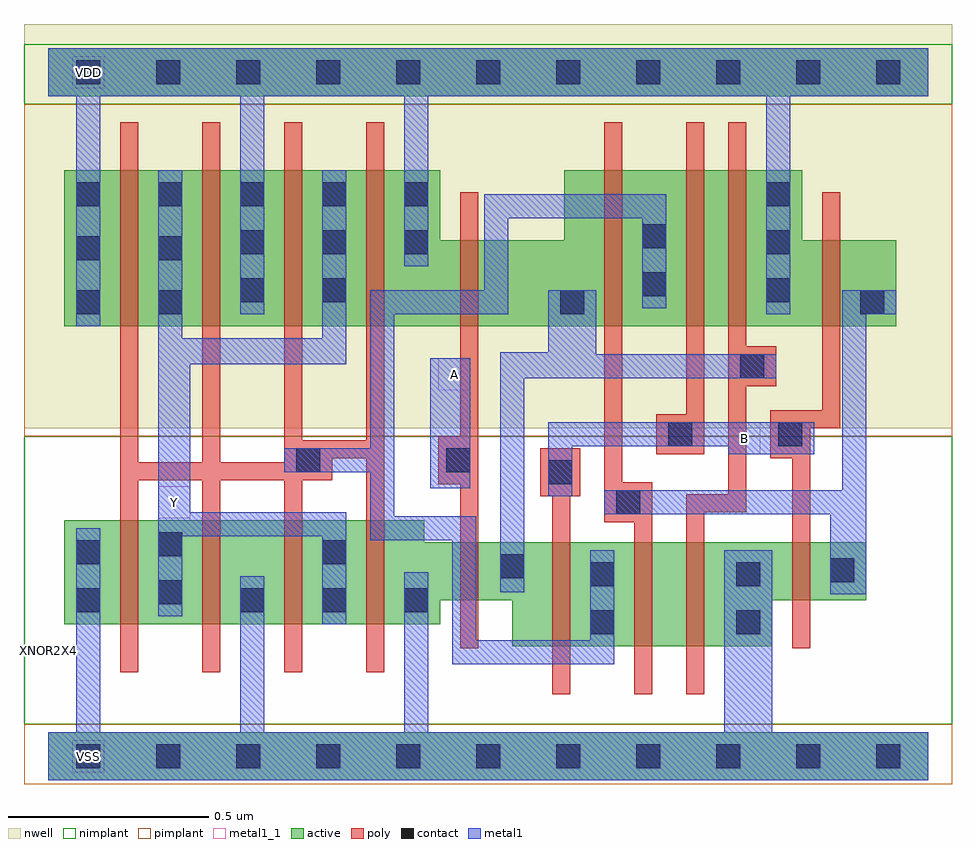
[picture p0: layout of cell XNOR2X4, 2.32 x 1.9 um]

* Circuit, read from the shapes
.subckt XNOR2X4 A B VDD VSS Y
M1 Y n1 VSS VSS nfet w=0.26u l=0.045u m=4
M2 n2 A VSS VSS nfet w=0.145u l=0.045u
M3 n1 B n2 VSS nfet w=0.26u l=0.045u
M4 n3 n4 n1 VSS nfet w=0.26u l=0.045u
M5 VSS n2 n3 VSS nfet w=0.26u l=0.045u
M6 n4 B VSS VSS nfet w=0.145u l=0.045u
M7 Y n1 VDD VDD pfet w=0.39u l=0.045u m=4
M8 n2 A VDD VDD pfet w=0.215u l=0.045u
M9 n1 n4 n2 VDD pfet w=0.39u l=0.045u
M10 n5 B n1 VDD pfet w=0.39u l=0.045u
M11 VDD n2 n5 VDD pfet w=0.39u l=0.045u
M12 n4 B VDD VDD pfet w=0.215u l=0.045u
.ends

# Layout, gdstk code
import gdstk
lib = gdstk.Library(unit=1e-6, precision=5e-10)
def R(c, l, rs):  # rectangles x0, y0, x1, y1
    for r in rs: c.add(gdstk.rectangle(r[:2], r[2:], *l))
def A(c, l, x, y, w, h, nx, ny, dx, dy):  # array of equal rectangles
    R(c, l, [(x+i*dx, y+j*dy, x+i*dx+w, y+j*dy+h) for i in range(nx) for j in range(ny)])
def P(c, l, *ps):  # polygons
    for p in ps: c.add(gdstk.Polygon(p, *l))
active = (1, 0)
nwell = (2, 0)
poly = (3, 0)
nimplant = (4, 0)
pimplant = (5, 0)
contact = (6, 0)
metal1 = (7, 0)
metal1_1 = (7, 1)

xnor2x4 = lib.new_cell('XNOR2X4')
R(xnor2x4, active, [(0,-0.06,2.2,0.06), (0,1.65,2.2,1.77)])
P(xnor2x4, active, [(0.04,1.465),(0.98,1.465),(0.98,1.29),(1.29,1.29),(1.29,1.465),(1.885,1.465),(1.885,1.29),(2.12,1.29),(2.12,1.075),(0.04,1.075)],
  [(0.04,0.59),(0.94,0.59),(0.94,0.535),(2.045,0.535),(2.045,0.39),(1.81,0.39),(1.81,0.275),(1.16,0.275),(1.16,0.39),(0.98,0.39),(0.98,0.33),(0.04,0.33)])
R(xnor2x4, nwell, [(-0.06,0.82,2.26,1.83)])
P(xnor2x4, poly, [(1.98,1.41),(1.935,1.41),(1.935,0.865),(1.805,0.865),(1.805,0.745),(1.86,0.745),(1.86,0.27),(1.905,0.27),(1.905,0.82),(1.98,0.82)],
  [(1.82,1.025),(1.745,1.025),(1.745,1.585),(1.7,1.585),(1.7,0.655),(1.595,0.655),(1.595,0.155),(1.64,0.155),(1.64,0.61),(1.745,0.61),(1.745,0.925),(1.82,0.925)],
  [(1.64,1.585),(1.595,1.585),(1.595,0.855),(1.52,0.855),(1.52,0.755),(1.64,0.755)],
  [(1.51,0.685),(1.435,0.685),(1.435,1.585),(1.39,1.585),(1.39,0.585),(1.465,0.585),(1.465,0.155),(1.51,0.155)],
  [(1.33,0.77),(1.23,0.77),(1.23,0.65),(1.26,0.65),(1.26,0.155),(1.305,0.155),(1.305,0.65),(1.33,0.65)],
  [(1.075,1.41),(1.03,1.41),(1.03,0.8),(0.975,0.8),(0.975,0.68),(1.03,0.68),(1.03,0.27),(1.075,0.27)],
  [(0.84,1.585),(0.795,1.585),(0.795,0.79),(0.635,0.79),(0.635,1.585),(0.59,1.585),(0.59,0.735),(0.43,0.735),(0.43,1.585),(0.385,1.585),(0.385,0.735),(0.225,0.735),(0.225,1.585),(0.18,1.585),(0.18,0.21),(0.225,0.21),(0.225,0.69),(0.385,0.69),(0.385,0.21),(0.43,0.21),(0.43,0.69),(0.59,0.69),(0.59,0.21),(0.635,0.21),(0.635,0.69),(0.71,0.69),(0.71,0.745),(0.795,0.745),(0.795,0.21),(0.84,0.21)])
R(xnor2x4, nimplant, [(-0.06,0.08,2.26,0.8), (-0.06,1.63,2.26,1.78)])
R(xnor2x4, pimplant, [(-0.06,-0.07,2.26,0.08), (-0.06,0.8,2.26,1.63)])
A(xnor2x4, contact, 0.07, -0.03, 0.06, 0.06, 11, 2, 0.2, 1.71)
A(xnor2x4, contact, 0.48, 0.36, 0.06, 0.06, 3, 2, 0.205, 0.895)
A(xnor2x4, contact, 1.795, 1.135, 0.06, 0.06, 1, 3, 0, 0.12)
A(xnor2x4, contact, 0.07, 1.375, 0.06, 0.06, 5, 1, 0.205, 0)
R(xnor2x4, contact, [(1.355,0.305,1.415,0.365), (1.72,0.305,1.78,0.365), (0.07,0.36,0.13,0.42), (0.275,0.38,0.335,0.44), (1.355,0.425,1.415,0.485), (1.72,0.425,1.78,0.485), (1.955,0.435,2.015,0.495), (1.13,0.445,1.19,0.505), (0.07,0.48,0.13,0.54), (0.685,0.48,0.745,0.54), (0.275,0.5,0.335,0.56), (1.42,0.605,1.48,0.665), (1.25,0.68,1.31,0.74), (0.62,0.71,0.68,0.77), (0.995,0.71,1.055,0.77), (1.55,0.775,1.61,0.835), (1.825,0.775,1.885,0.835), (1.73,0.945,1.79,1.005), (0.07,1.105,0.13,1.165), (0.275,1.105,0.335,1.165), (1.28,1.105,1.34,1.165), (2.03,1.105,2.09,1.165), (0.48,1.135,0.54,1.195), (0.685,1.135,0.745,1.195), (1.485,1.15,1.545,1.21), (0.07,1.24,0.13,1.3), (0.275,1.24,0.335,1.3), (1.485,1.27,1.545,1.33)])
R(xnor2x4, metal1, [(0.955,0.67,1.055,0.995)])
P(xnor2x4, metal1, [(2.2,1.77),(0,1.77),(0,1.65),(0.07,1.65),(0.07,1.075),(0.13,1.075),(0.13,1.65),(0.48,1.65),(0.48,1.105),(0.54,1.105),(0.54,1.65),(0.89,1.65),(0.89,1.225),(0.95,1.225),(0.95,1.65),(1.795,1.65),(1.795,1.105),(1.855,1.105),(1.855,1.65),(2.2,1.65)],
  [(2.12,1.165),(1.985,1.165),(1.985,0.665),(1.39,0.665),(1.39,0.605),(1.955,0.605),(1.955,0.405),(2.045,0.405),(2.045,1.105),(2.12,1.105)],
  [(1.915,0.835),(1.25,0.835),(1.25,0.65),(1.31,0.65),(1.31,0.775),(1.7,0.775),(1.7,0.755),(1.915,0.755)],
  [(2.2,0.06),(1.81,0.06),(1.81,0.515),(1.69,0.515),(1.69,0.06),(0.95,0.06),(0.95,0.46),(0.89,0.46),(0.89,0.06),(0.54,0.06),(0.54,0.45),(0.48,0.45),(0.48,0.06),(0.13,0.06),(0.13,0.57),(0.07,0.57),(0.07,0.06),(0,0.06),(0,-0.06),(2.2,-0.06)],
  [(1.82,1.005),(1.37,1.005),(1.37,1.165),(1.25,1.165),(1.25,1.01),(1.13,1.01),(1.13,0.41),(1.19,0.41),(1.19,0.945),(1.82,0.945)],
  [(1.545,1.405),(1.09,1.405),(1.09,1.165),(0.805,1.165),(0.805,0.77),(0.59,0.77),(0.59,0.71),(0.805,0.71),(0.805,0.54),(1.01,0.54),(1.01,0.23),(1.415,0.23),(1.415,0.515),(1.355,0.515),(1.355,0.29),(1.07,0.29),(1.07,0.6),(0.865,0.6),(0.865,1.105),(1.15,1.105),(1.15,1.345),(1.485,1.345),(1.485,1.12),(1.545,1.12)],
  [(0.745,0.61),(0.355,0.61),(0.355,0.98),(0.745,0.98),(0.745,1.465),(0.685,1.465),(0.685,1.045),(0.335,1.045),(0.335,1.465),(0.275,1.465),(0.275,0.35),(0.335,0.35),(0.335,0.55),(0.685,0.55),(0.685,0.33),(0.745,0.33)])
R(xnor2x4, metal1_1, [(0.06,-0.04,0.14,0.04), (0.275,0.595,0.355,0.675), (1.7,0.755,1.78,0.835), (0.975,0.915,1.055,0.995), (0.06,1.67,0.14,1.75)])
xnor2x4.add(gdstk.Label('VSS', (0.1,0), layer=7, texttype=1))
xnor2x4.add(gdstk.Label('Y', (0.315,0.635), layer=7, texttype=1))
xnor2x4.add(gdstk.Label('B', (1.74,0.795), layer=7, texttype=1))
xnor2x4.add(gdstk.Label('A', (1.015,0.955), layer=7, texttype=1))
xnor2x4.add(gdstk.Label('VDD', (0.1,1.71), layer=7, texttype=1))
xnor2x4.add(gdstk.Label('XNOR2X4', (0,0.265), layer=63, texttype=0))

lib.write_gds('XNOR2X4.gds')
